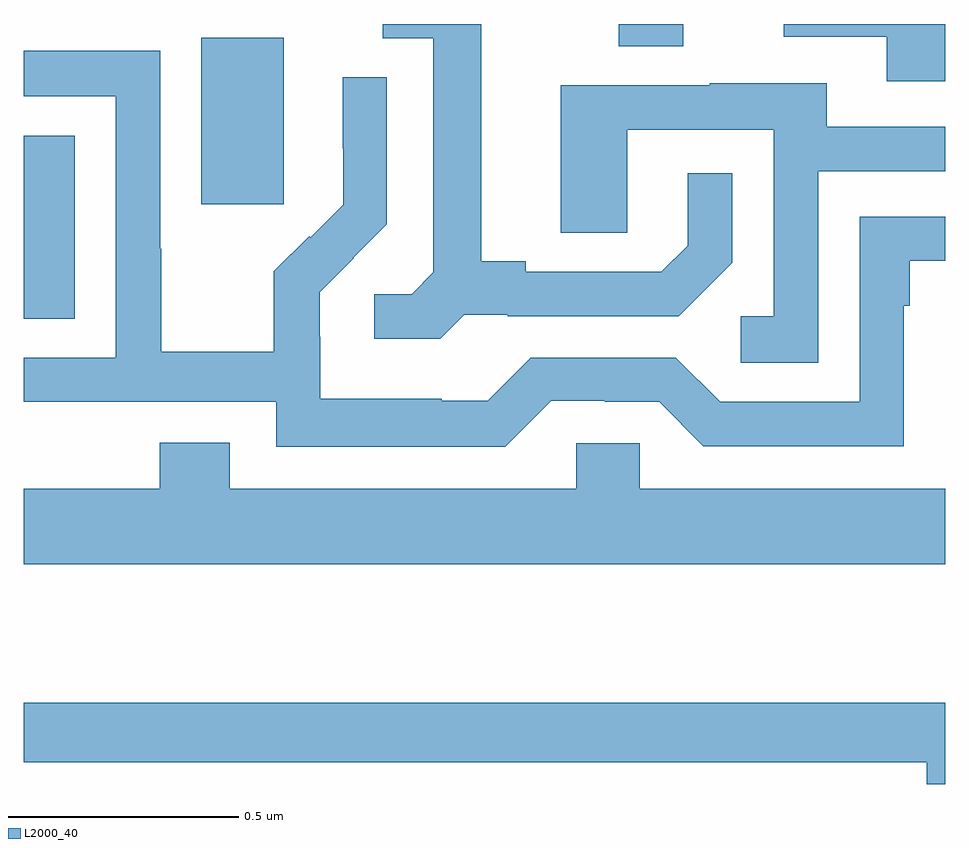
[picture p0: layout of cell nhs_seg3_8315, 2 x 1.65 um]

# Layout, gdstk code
import gdstk
lib = gdstk.Library(unit=1e-6, precision=1e-09)
def R(c, l, rs):  # rectangles x0, y0, x1, y1
    for r in rs: c.add(gdstk.rectangle(r[:2], r[2:], *l))
def P(c, l, *ps):  # polygons
    for p in ps: c.add(gdstk.Polygon(p, *l))
L2000_40 = (2000, 40)

nhs_seg3_8315 = lib.new_cell('nhs_seg3_8315')
R(nhs_seg3_8315, L2000_40, [(214,722.761,214.111,723.158), (214.385,723.009,214.564,723.37), (215.291,723.352,215.431,723.4)])
P(nhs_seg3_8315, L2000_40, [(216,723.4),(215.649,723.4),(215.649,723.372),(215.873,723.372),(215.873,723.276),(216,723.276)],
  [(214.956,722.769),(215.05,722.769),(215.05,722.766),(215.422,722.766),(215.538,722.882),(215.538,723.076),(215.441,723.076),(215.441,722.919),(215.384,722.862),(215.089,722.862),(215.089,722.885),(214.993,722.885),(214.993,723.4),(214.779,723.4),(214.779,723.369),(214.889,723.369),(214.889,722.861),(214.842,722.814),(214.761,722.814),(214.761,722.717),(214.904,722.717)],
  [(215.145,722.583),(215.261,722.583),(215.261,722.58),(215.379,722.58),(215.475,722.484),(215.91,722.484),(215.91,722.789),(215.923,722.789),(215.923,722.886),(216,722.886),(216,722.982),(215.814,722.982),(215.814,722.58),(215.511,722.58),(215.415,722.676),(215.1,722.676),(215.007,722.583),(214.907,722.583),(214.907,722.587),(214.644,722.587),(214.644,722.721),(214.642,722.721),(214.642,722.818),(214.716,722.892),(214.715,722.893),(214.788,722.966),(214.788,723.284),(214.692,723.284),(214.692,723.13),(214.694,723.13),(214.694,723.008),(214.623,722.937),(214.62,722.94),(214.543,722.863),(214.543,722.689),(214.299,722.689),(214.299,722.912),(214.296,722.912),(214.296,723.342),(214,723.342),(214,723.243),(214.2,723.243),(214.2,722.676),(214,722.676),(214,722.58),(214.548,722.58),(214.548,722.483),(215.045,722.483)],
  [(215.724,723.081),(216,723.081),(216,723.177),(215.743,723.177),(215.743,723.271),(215.489,723.271),(215.489,723.267),(215.165,723.267),(215.165,722.947),(215.31,722.947),(215.31,723.171),(215.628,723.171),(215.628,722.766),(215.556,722.766),(215.556,722.665),(215.724,722.665)],
  [(216,722.392),(215.337,722.392),(215.337,722.49),(215.199,722.49),(215.199,722.392),(214.447,722.392),(214.447,722.491),(214.295,722.491),(214.295,722.392),(214,722.392),(214,722.228),(216,722.228)],
  [(216,721.927),(214,721.927),(214,721.798),(215.96,721.798),(215.96,721.751),(216,721.751)])

lib.write_gds('nhs_seg3_8315.gds')
